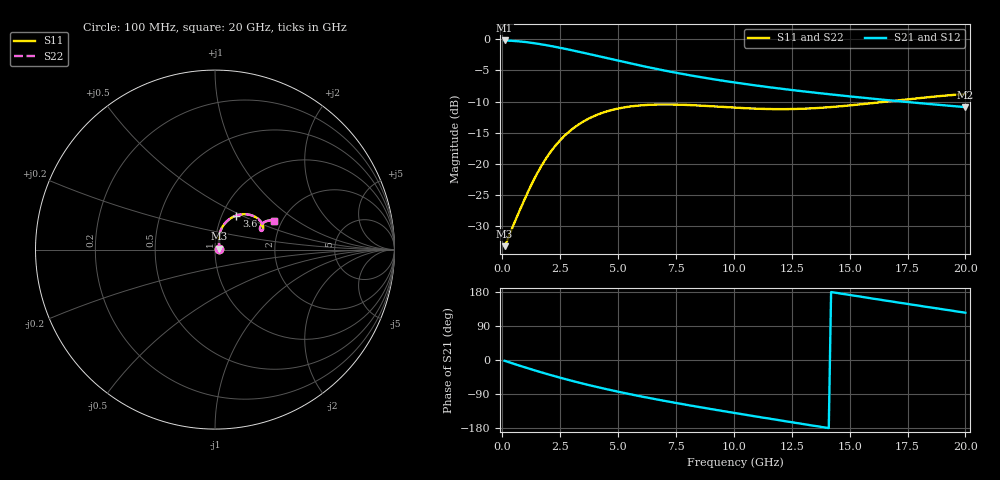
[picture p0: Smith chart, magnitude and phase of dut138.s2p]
! Touchstone file exported from HFSS 2024.1.0
!  File:  C:/UserFiles/LocalFiles/RDL_TSV_Batchsim/temp_RDL_TSV_138_1779428821.aedt
!  Generated:  02:06:10 PM May 22, 2026
!  Design:  RDL_TSV
!  Project:  temp_RDL_TSV_138_1779428821
!  Setup:  Setup1
!  Solution:  Sweep
! Variables:
!  dtsv = 8.49um
!  hbump = 3um
!  htsv = 82.73um
!  ldown = 579.53um
!  lrdl = 403.91um
!  p = 40
!  p1 = 54.57um
!  rhole = 10um
!  subl = 3354.23um
!  t = 450um
!  tdown = 4.34um
!  trdl = 2.06um
!  viad = 10um
!  wdown = 16.65um
!  wrdl = 23.69um
!  xbump = 18um
# GHz S MA R 50.000000
! Terminal data exported
! Port[1] = TM1_1_T1
! Port[2] = TM1_4_T1
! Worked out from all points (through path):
!   200 points, 100 MHz to 20 GHz, reference 50 ohm
!   highest |S21| = -0.19 dB at 100 MHz (marker M1); lowest = -10.9 dB at 20 GHz (marker M2)
!   group delay of S21, straight-line fit = 30.7 ps
!   lowest |S11| = -33.2 dB at 100 MHz (marker M3), VSWR 1.04, Z = 52.2 + j0.544 ohm
!   |S11| at or under -10 dB: start of sweep to 16.6 GHz
!   |S22| runs from -33.2 to -8.8 dB; largest |S21 - S12| = 3.9e-14
!   S11 on the Smith chart (normalised r, x): 100 MHz: 1.04, +0.01; 3.6 GHz: 1.17, +0.47; 20 GHz: 1.81, +0.67
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0.1  0.02177 13.9  0.9785 -2.1  0.9785 -2.1  0.02177 13.9
! Gamma 0 0 0 0
! Port Impedance 50 0 50 0
0.5  0.03283 47.0  0.97 -10.1  0.97 -10.1  0.03283 47.0
0.9  0.04872 63.4  0.955 -18.0  0.955 -18.0  0.04873 63.4
1.4  0.07671 72.5  0.9289 -27.4  0.9289 -27.4  0.07672 72.5
1.8  0.1039 73.8  0.9037 -34.7  0.9037 -34.7  0.1039 73.8
2.2  0.1328 72.0  0.876 -41.7  0.876 -41.7  0.1329 72.0
2.6  0.1615 68.7  0.8468 -48.4  0.8468 -48.4  0.1616 68.7
3  0.1885 64.6  0.8169 -54.9  0.8169 -54.9  0.1885 64.6
3.5  0.2184 59.1  0.7793 -62.6  0.7793 -62.6  0.2184 59.1
3.6  0.2238 58.0  0.7719 -64.1  0.7719 -64.1  0.2238 58.0
4.3  0.2556 50.5  0.721 -74.2  0.721 -74.2  0.2556 50.5
5.2  0.2823 41.9  0.6606 -86.2  0.6606 -86.2  0.2823 41.9
6  0.2948 35.7  0.6128 -96.2  0.6128 -96.2  0.2947 35.7
6.8  0.2994 30.6  0.5708 -105.5  0.5708 -105.5  0.2993 30.6
8.3  0.2949 24.4  0.5061 -122.0  0.5061 -122.0  0.2948 24.4
10.1  0.2819 21.8  0.4477 -140.5  0.4477 -140.5  0.2817 21.8
11.7  0.2748 22.9  0.408 -156.4  0.408 -156.4  0.2747 23.0
13.4  0.279 25.8  0.3743 -173.0  0.3743 -173.0  0.2789 25.9
15  0.2941 28.2  0.3477 171.6  0.3477 171.6  0.2941 28.3
16.7  0.3177 29.1  0.3235 155.4  0.3235 155.4  0.3179 29.2
18.3  0.3415 28.2  0.3036 140.4  0.3036 140.4  0.3417 28.3
20  0.3635 26.1  0.2851 124.8  0.2851 124.8  0.3639 26.2
